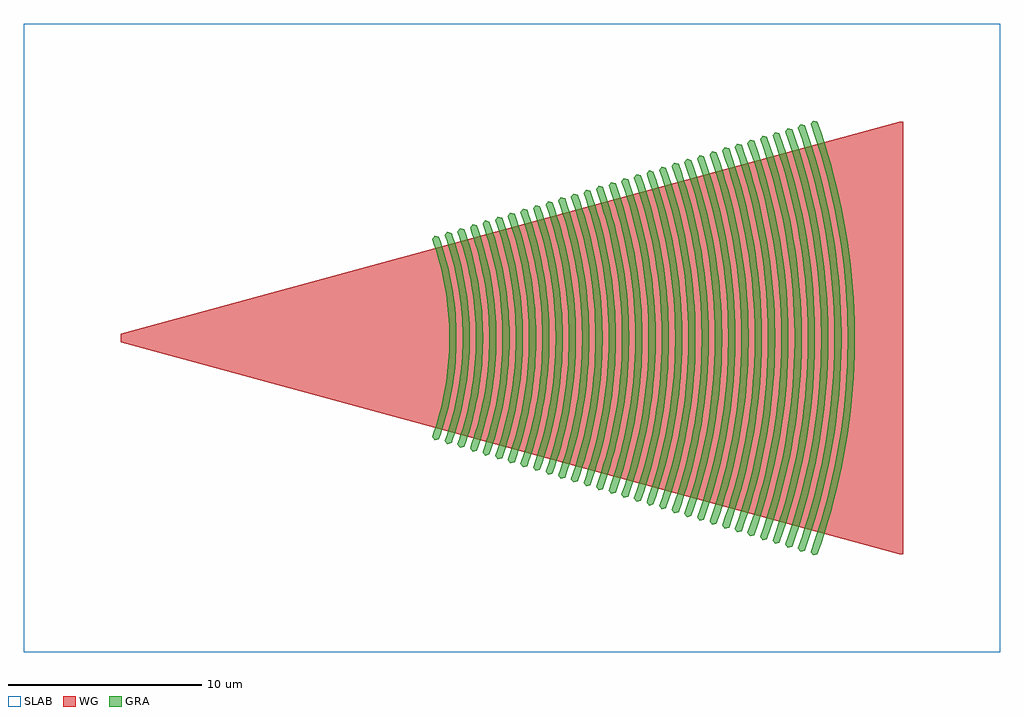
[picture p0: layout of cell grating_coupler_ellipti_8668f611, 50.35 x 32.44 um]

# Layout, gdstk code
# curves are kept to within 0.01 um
import gdstk
lib = gdstk.Library(unit=1e-6, precision=1e-09)
def R(c, l, rs):  # rectangles x0, y0, x1, y1
    for r in rs: c.add(gdstk.rectangle(r[:2], r[2:], *l))
def P(c, l, *ps):  # polygons
    for p in ps: c.add(gdstk.Polygon(p, *l))
WG = (3, 0)
SLAB = (5, 0)
GRA = (6, 0)

grating_coupler_ellipti_ = lib.new_cell('grating_coupler_ellipti_8668f611')
P(grating_coupler_ellipti_, WG, [(40.832,-11.166),(0.682,-0.225),(0.682,0.225),(40.832,11.166),(41.033,11.166),(41.033,-11.166)])
R(grating_coupler_ellipti_, SLAB, [(-4.318,-16.22,46.033,16.22)])
P(grating_coupler_ellipti_, GRA, [(16.874,-5.271),(16.74,-5.094),(16.991,-4.333),(17.134,-3.82),(17.316,-3.042),(17.414,-2.518),(17.494,-1.992),(17.578,-1.197),(17.624,-0.134),(17.596,0.932),(17.494,1.992),(17.367,2.78),(17.199,3.561),(16.991,4.333),(16.74,5.094),(16.874,5.271),(17.09,5.216),(17.421,4.177),(17.621,3.383),(17.778,2.58),(17.894,1.769),(17.966,0.954),(17.994,0.136),(17.98,-0.682),(17.922,-1.498),(17.822,-2.311),(17.678,-3.116),(17.421,-4.177),(17.09,-5.216)],
  [(17.526,-5.471),(17.391,-5.293),(17.651,-4.502),(17.8,-3.969),(17.989,-3.16),(18.091,-2.616),(18.207,-1.795),(18.261,-1.243),(18.295,-0.692),(18.309,-0.138),(18.28,0.967),(18.173,2.069),(18.042,2.889),(17.867,3.7),(17.651,4.502),(17.391,5.293),(17.526,5.471),(17.741,5.415),(18.084,4.336),(18.292,3.512),(18.455,2.678),(18.575,1.837),(18.65,0.991),(18.679,0.142),(18.665,-0.708),(18.604,-1.555),(18.5,-2.398),(18.351,-3.234),(18.084,-4.336),(17.741,-5.415)],
  [(18.175,-5.668),(18.041,-5.491),(18.311,-4.671),(18.466,-4.117),(18.662,-3.279),(18.768,-2.714),(18.919,-1.576),(18.964,-1.004),(18.994,-0.143),(18.964,1.004),(18.919,1.576),(18.853,2.146),(18.717,2.997),(18.536,3.839),(18.311,4.671),(18.041,5.491),(18.175,5.668),(18.391,5.613),(18.747,4.495),(18.963,3.64),(19.132,2.776),(19.256,1.904),(19.334,1.026),(19.364,0.147),(19.349,-0.733),(19.287,-1.612),(19.178,-2.485),(19.024,-3.353),(18.896,-3.927),(18.747,-4.495),(18.391,-5.613)],
  [(18.826,-5.866),(18.692,-5.689),(18.884,-5.124),(19.132,-4.266),(19.335,-3.397),(19.491,-2.518),(19.569,-1.929),(19.627,-1.337),(19.663,-0.743),(19.679,-0.148),(19.674,0.446),(19.648,1.041),(19.601,1.633),(19.533,2.224),(19.392,3.105),(19.204,3.977),(18.971,4.839),(18.692,5.689),(18.826,5.866),(19.042,5.811),(19.236,5.236),(19.41,4.653),(19.634,3.769),(19.808,2.874),(19.937,1.971),(20.018,1.063),(20.049,0.152),(20.033,-0.759),(19.969,-1.669),(19.857,-2.574),(19.697,-3.471),(19.564,-4.065),(19.41,-4.653),(19.236,-5.236),(19.042,-5.811)],
  [(19.478,-6.065),(19.343,-5.887),(19.541,-5.303),(19.798,-4.415),(20.008,-3.516),(20.169,-2.606),(20.25,-1.996),(20.311,-1.383),(20.348,-0.769),(20.364,-0.155),(20.359,0.461),(20.331,1.077),(20.283,1.69),(20.213,2.302),(20.067,3.213),(19.873,4.117),(19.632,5.008),(19.343,5.887),(19.478,6.065),(19.693,6.009),(19.893,5.415),(20.073,4.812),(20.233,4.203),(20.37,3.59),(20.535,2.662),(20.618,2.038),(20.701,1.099),(20.734,0.157),(20.718,-0.785),(20.651,-1.726),(20.535,-2.662),(20.37,-3.59),(20.233,-4.203),(20.073,-4.812),(19.893,-5.415),(19.693,-6.009)],
  [(20.127,-6.263),(19.993,-6.086),(20.198,-5.481),(20.464,-4.563),(20.681,-3.634),(20.848,-2.694),(20.931,-2.064),(20.994,-1.43),(21.032,-0.795),(21.049,-0.16),(21.044,0.477),(20.994,1.43),(20.931,2.064),(20.848,2.694),(20.681,3.634),(20.464,4.563),(20.198,5.481),(19.993,6.086),(20.127,6.263),(20.343,6.208),(20.55,5.593),(20.737,4.971),(20.901,4.343),(21.043,3.708),(21.214,2.75),(21.299,2.106),(21.385,1.135),(21.419,0.162),(21.402,-0.811),(21.333,-1.783),(21.214,-2.75),(21.043,-3.708),(20.901,-4.343),(20.737,-4.971),(20.55,-5.593),(20.343,-6.208)],
  [(20.779,-6.462),(20.644,-6.284),(20.952,-5.346),(21.21,-4.393),(21.354,-3.753),(21.526,-2.782),(21.613,-2.131),(21.677,-1.477),(21.717,-0.821),(21.734,-0.164),(21.728,0.493),(21.699,1.149),(21.648,1.804),(21.573,2.456),(21.416,3.43),(21.21,4.393),(20.952,5.346),(20.644,6.284),(20.779,6.462),(20.994,6.406),(21.207,5.772),(21.4,5.13),(21.57,4.481),(21.716,3.827),(21.892,2.838),(21.981,2.173),(22.069,1.171),(22.104,0.168),(22.087,-0.837),(22.016,-1.84),(21.892,-2.838),(21.716,-3.827),(21.57,-4.481),(21.4,-5.13),(21.207,-5.772),(20.994,-6.406)],
  [(21.428,-6.659),(21.294,-6.482),(21.613,-5.514),(21.878,-4.532),(22.027,-3.871),(22.205,-2.869),(22.294,-2.198),(22.36,-1.523),(22.401,-0.847),(22.419,-0.169),(22.413,0.508),(22.36,1.523),(22.294,2.198),(22.205,2.869),(22.027,3.871),(21.878,4.532),(21.613,5.514),(21.294,6.482),(21.428,6.659),(21.644,6.604),(21.865,5.95),(22.063,5.288),(22.238,4.62),(22.389,3.945),(22.571,2.925),(22.662,2.24),(22.753,1.208),(22.789,0.173),(22.771,-0.863),(22.698,-1.897),(22.571,-2.925),(22.389,-3.945),(22.238,-4.62),(22.063,-5.288),(21.865,-5.95),(21.644,-6.604)],
  [(22.08,-6.859),(21.945,-6.681),(22.17,-6.017),(22.461,-5.01),(22.699,-3.989),(22.883,-2.957),(22.975,-2.265),(23.043,-1.57),(23.086,-0.873),(23.104,-0.174),(23.086,0.873),(23.043,1.57),(22.975,2.265),(22.883,2.957),(22.699,3.989),(22.461,5.01),(22.17,6.017),(21.945,6.681),(22.08,6.859),(22.295,6.803),(22.522,6.129),(22.726,5.447),(22.906,4.759),(23.061,4.063),(23.249,3.013),(23.343,2.307),(23.437,1.245),(23.474,0.178),(23.456,-0.889),(23.38,-1.954),(23.249,-3.013),(23.061,-4.063),(22.906,-4.759),(22.726,-5.447),(22.522,-6.129),(22.295,-6.803)],
  [(22.729,-7.056),(22.595,-6.879),(22.933,-5.852),(23.215,-4.809),(23.372,-4.108),(23.561,-3.045),(23.656,-2.332),(23.726,-1.616),(23.77,-0.899),(23.789,-0.179),(23.783,0.539),(23.726,1.616),(23.656,2.332),(23.561,3.045),(23.372,4.108),(23.215,4.809),(22.933,5.852),(22.595,6.879),(22.729,7.056),(22.945,7.001),(23.179,6.308),(23.389,5.606),(23.575,4.897),(23.734,4.182),(23.927,3.101),(24.024,2.374),(24.121,1.28),(24.159,0.183),(24.14,-0.915),(24.062,-2.011),(23.927,-3.101),(23.805,-3.823),(23.658,-4.54),(23.485,-5.252),(23.287,-5.958),(23.065,-6.656),(22.945,-7.001)],
  [(23.38,-7.254),(23.246,-7.077),(23.594,-6.02),(23.793,-5.307),(24.045,-4.226),(24.24,-3.133),(24.337,-2.4),(24.409,-1.663),(24.454,-0.925),(24.474,-0.186),(24.468,0.555),(24.409,1.663),(24.337,2.4),(24.24,3.133),(24.045,4.226),(23.793,5.307),(23.594,6.02),(23.246,7.077),(23.38,7.254),(23.596,7.199),(23.836,6.486),(24.052,5.765),(24.243,5.036),(24.407,4.3),(24.606,3.189),(24.745,2.068),(24.805,1.316),(24.844,0.188),(24.824,-0.941),(24.745,-2.068),(24.606,-3.189),(24.48,-3.931),(24.329,-4.668),(24.151,-5.401),(23.948,-6.126),(23.719,-6.844),(23.596,-7.199)],
  [(24.031,-7.452),(23.897,-7.275),(24.254,-6.189),(24.552,-5.087),(24.718,-4.345),(24.918,-3.221),(25.018,-2.467),(25.093,-1.709),(25.139,-0.951),(25.159,-0.19),(25.139,0.951),(25.093,1.709),(25.018,2.467),(24.918,3.221),(24.718,4.345),(24.552,5.087),(24.254,6.189),(23.897,7.275),(24.031,7.452),(24.247,7.397),(24.373,7.033),(24.608,6.295),(24.817,5.55),(25.08,4.419),(25.284,3.277),(25.427,2.124),(25.489,1.353),(25.529,0.194),(25.509,-0.967),(25.427,-2.124),(25.284,-3.277),(25.155,-4.039),(25,-4.797),(24.817,-5.55),(24.608,-6.295),(24.373,-7.033),(24.247,-7.397)],
  [(24.681,-7.651),(24.547,-7.474),(24.799,-6.732),(25.125,-5.605),(25.391,-4.463),(25.597,-3.308),(25.699,-2.534),(25.776,-1.756),(25.823,-0.977),(25.844,-0.195),(25.837,0.586),(25.776,1.756),(25.699,2.534),(25.597,3.308),(25.391,4.463),(25.125,5.605),(24.799,6.732),(24.547,7.474),(24.681,7.651),(24.897,7.596),(25.027,7.221),(25.268,6.464),(25.483,5.699),(25.753,4.537),(25.963,3.364),(26.109,2.181),(26.193,0.993),(26.214,0.199),(26.207,-0.596),(26.144,-1.786),(26.018,-2.97),(25.83,-4.147),(25.671,-4.925),(25.483,-5.699),(25.151,-6.844),(24.897,-7.596)],
  [(25.332,-7.849),(25.198,-7.672),(25.456,-6.91),(25.791,-5.753),(26.064,-4.582),(26.275,-3.396),(26.381,-2.601),(26.459,-1.803),(26.508,-1.002),(26.529,-0.2),(26.508,1.002),(26.459,1.803),(26.381,2.601),(26.275,3.396),(26.064,4.582),(25.791,5.753),(25.456,6.91),(25.198,7.672),(25.332,7.849),(25.548,7.794),(25.681,7.41),(25.928,6.632),(26.149,5.847),(26.426,4.656),(26.641,3.452),(26.749,2.643),(26.856,1.425),(26.899,0.204),(26.878,-1.018),(26.827,-1.833),(26.698,-3.048),(26.505,-4.256),(26.341,-5.054),(26.149,-5.847),(25.808,-7.022),(25.548,-7.794)],
  [(25.982,-8.047),(25.848,-7.87),(26.235,-6.695),(26.457,-5.902),(26.737,-4.7),(26.953,-3.484),(27.062,-2.669),(27.142,-1.849),(27.192,-1.028),(27.214,-0.205),(27.207,0.617),(27.142,1.849),(27.062,2.669),(26.953,3.484),(26.737,4.7),(26.457,5.902),(26.235,6.695),(25.848,7.87),(25.982,8.047),(26.198,7.992),(26.335,7.598),(26.589,6.801),(26.815,5.996),(27.099,4.774),(27.253,3.953),(27.43,2.711),(27.54,1.462),(27.584,0.209),(27.562,-1.044),(27.474,-2.295),(27.378,-3.126),(27.18,-4.364),(27.012,-5.183),(26.815,-5.996),(26.465,-7.201),(26.198,-7.992)],
  [(26.633,-8.246),(26.499,-8.069),(26.895,-6.864),(27.122,-6.051),(27.41,-4.818),(27.632,-3.572),(27.743,-2.736),(27.825,-1.896),(27.877,-1.054),(27.899,-0.211),(27.892,0.633),(27.825,1.896),(27.743,2.736),(27.632,3.572),(27.41,4.818),(27.122,6.051),(26.895,6.864),(26.499,8.069),(26.633,8.246),(26.849,8.191),(26.989,7.787),(27.249,6.97),(27.48,6.145),(27.772,4.892),(27.998,3.628),(28.111,2.778),(28.224,1.499),(28.269,0.215),(28.247,-1.07),(28.156,-2.352),(27.998,-3.628),(27.855,-4.472),(27.585,-5.729),(27.368,-6.558),(27.122,-7.379),(26.849,-8.191)],
  [(27.285,-8.445),(27.15,-8.267),(27.555,-7.033),(27.894,-5.78),(28.083,-4.937),(28.31,-3.66),(28.424,-2.803),(28.508,-1.942),(28.561,-1.08),(28.584,-0.216),(28.561,1.08),(28.508,1.942),(28.424,2.803),(28.31,3.66),(28.083,4.937),(27.894,5.78),(27.555,7.033),(27.15,8.267),(27.285,8.445),(27.5,8.389),(27.643,7.975),(27.909,7.139),(28.146,6.293),(28.445,5.011),(28.676,3.716),(28.792,2.845),(28.908,1.534),(28.954,0.22),(28.931,-1.096),(28.838,-2.409),(28.676,-3.716),(28.53,-4.58),(28.254,-5.868),(28.031,-6.717),(27.78,-7.558),(27.5,-8.389)],
  [(27.934,-8.642),(27.8,-8.465),(28.216,-7.201),(28.454,-6.348),(28.756,-5.055),(28.989,-3.747),(29.105,-2.87),(29.191,-1.989),(29.245,-1.106),(29.269,-0.221),(29.261,0.664),(29.191,1.989),(29.105,2.87),(28.989,3.747),(28.756,5.055),(28.454,6.348),(28.216,7.201),(27.8,8.465),(27.934,8.642),(28.15,8.587),(28.297,8.164),(28.695,6.876),(28.922,6.007),(29.118,5.129),(29.355,3.803),(29.473,2.912),(29.592,1.57),(29.639,0.225),(29.615,-1.122),(29.52,-2.466),(29.355,-3.803),(29.205,-4.689),(28.922,-6.007),(28.695,-6.876),(28.437,-7.737),(28.15,-8.587)],
  [(28.585,-8.84),(28.451,-8.663),(28.876,-7.37),(29.12,-6.497),(29.429,-5.174),(29.596,-4.283),(29.731,-3.387),(29.875,-2.036),(29.93,-1.132),(29.954,-0.226),(29.946,0.679),(29.875,2.036),(29.786,2.938),(29.667,3.835),(29.429,5.174),(29.231,6.057),(28.876,7.37),(28.451,8.663),(28.585,8.84),(28.801,8.785),(28.951,8.352),(29.358,7.035),(29.591,6.145),(29.791,5.248),(30.033,3.891),(30.154,2.98),(30.276,1.607),(30.324,0.23),(30.3,-1.148),(30.243,-2.066),(30.097,-3.435),(29.88,-4.797),(29.591,-6.145),(29.358,-7.035),(29.094,-7.915),(28.801,-8.785)],
  [(29.235,-9.039),(29.101,-8.862),(29.536,-7.539),(29.786,-6.646),(30.102,-5.292),(30.273,-4.381),(30.411,-3.465),(30.558,-2.082),(30.614,-1.158),(30.639,-0.231),(30.631,0.695),(30.558,2.082),(30.467,3.005),(30.345,3.923),(30.102,5.292),(29.786,6.646),(29.536,7.539),(29.101,8.862),(29.235,9.039),(29.451,8.984),(29.605,8.541),(29.89,7.645),(30.144,6.74),(30.464,5.366),(30.711,3.979),(30.885,2.58),(30.96,1.643),(31.009,0.235),(30.984,-1.174),(30.885,-2.58),(30.711,-3.979),(30.555,-4.905),(30.259,-6.284),(30.021,-7.193),(29.751,-8.094),(29.451,-8.984)],
  [(29.886,-9.237),(29.752,-9.06),(30.057,-8.16),(30.452,-6.794),(30.775,-5.411),(31.024,-4.011),(31.149,-3.072),(31.241,-2.129),(31.299,-1.184),(31.324,-0.236),(31.316,0.71),(31.241,2.129),(31.149,3.072),(31.024,4.011),(30.775,5.411),(30.452,6.794),(30.057,8.16),(29.752,9.06),(29.886,9.237),(30.102,9.182),(30.259,8.729),(30.55,7.813),(30.81,6.888),(31.137,5.485),(31.39,4.067),(31.517,3.114),(31.644,1.679),(31.694,0.24),(31.669,-1.2),(31.567,-2.637),(31.39,-4.067),(31.23,-5.013),(31.037,-5.955),(30.81,-6.888),(30.409,-8.272),(30.102,-9.182)],
  [(30.536,-9.435),(30.402,-9.258),(30.714,-8.339),(31.118,-6.943),(31.448,-5.529),(31.626,-4.577),(31.771,-3.62),(31.924,-2.175),(31.983,-1.21),(32.009,-0.242),(31.983,1.21),(31.924,2.175),(31.83,3.139),(31.702,4.099),(31.448,5.529),(31.118,6.943),(30.714,8.339),(30.402,9.258),(30.536,9.435),(30.752,9.38),(30.913,8.918),(31.211,7.982),(31.476,7.037),(31.81,5.603),(32.068,4.155),(32.198,3.181),(32.327,1.715),(32.379,0.246),(32.353,-1.226),(32.249,-2.694),(32.137,-3.668),(31.905,-5.122),(31.596,-6.561),(31.347,-7.511),(31.066,-8.451),(30.752,-9.38)],
  [(31.187,-9.634),(31.053,-9.457),(31.371,-8.518),(31.784,-7.092),(32.121,-5.647),(32.303,-4.675),(32.451,-3.698),(32.607,-2.222),(32.668,-1.236),(32.694,-0.247),(32.668,1.236),(32.607,2.222),(32.511,3.207),(32.381,4.186),(32.121,5.647),(31.784,7.092),(31.371,8.518),(31.053,9.457),(31.187,9.634),(31.403,9.579),(31.567,9.106),(31.871,8.151),(32.142,7.186),(32.483,5.721),(32.747,4.242),(32.879,3.249),(33.011,1.753),(33.064,0.251),(33.038,-1.252),(32.931,-2.751),(32.747,-4.242),(32.58,-5.23),(32.378,-6.211),(32.142,-7.186),(31.723,-8.63),(31.403,-9.579)],
  [(31.839,-9.833),(31.704,-9.655),(32.177,-8.214),(32.45,-7.241),(32.794,-5.766),(32.98,-4.773),(33.13,-3.775),(33.246,-2.772),(33.352,-1.262),(33.379,-0.252),(33.37,0.757),(33.29,2.269),(33.192,3.274),(33.059,4.275),(32.794,5.766),(32.45,7.241),(32.177,8.214),(31.704,9.655),(31.839,9.833),(32.054,9.777),(32.221,9.294),(32.531,8.32),(32.808,7.335),(33.156,5.84),(33.425,4.329),(33.614,2.808),(33.722,1.278),(33.749,0.256),(33.722,-1.278),(33.614,-2.808),(33.425,-4.329),(33.255,-5.338),(33.049,-6.34),(32.808,-7.335),(32.38,-8.808),(32.054,-9.777)],
  [(32.488,-10.03),(32.354,-9.853),(32.686,-8.875),(33.115,-7.389),(33.467,-5.884),(33.657,-4.871),(33.81,-3.853),(33.974,-2.315),(34.036,-1.287),(34.064,-0.257),(34.055,0.772),(33.974,2.315),(33.873,3.341),(33.737,4.363),(33.657,4.871),(33.467,5.884),(33.241,6.889),(32.838,8.382),(32.354,9.853),(32.488,10.03),(32.704,9.975),(32.875,9.483),(33.337,7.987),(33.601,6.977),(33.829,5.958),(34.021,4.933),(34.241,3.383),(34.379,1.824),(34.434,0.261),(34.425,-0.782),(34.342,-2.345),(34.176,-3.901),(33.93,-5.446),(33.601,-6.977),(33.337,-7.987),(33.038,-8.987),(32.704,-9.975)],
  [(33.139,-10.228),(33.005,-10.051),(33.343,-9.054),(33.781,-7.538),(34.14,-6.003),(34.333,-4.969),(34.49,-3.93),(34.657,-2.362),(34.721,-1.313),(34.749,-0.262),(34.74,0.788),(34.657,2.362),(34.554,3.408),(34.416,4.45),(34.14,6.003),(33.91,7.028),(33.498,8.551),(33.005,10.051),(33.139,10.228),(33.355,10.173),(33.695,9.166),(34.139,7.632),(34.27,7.116),(34.502,6.077),(34.782,4.506),(34.922,3.45),(35.063,1.86),(35.119,0.266),(35.11,-0.798),(35.025,-2.392),(34.856,-3.978),(34.605,-5.555),(34.27,-7.116),(34,-8.146),(33.695,-9.166),(33.355,-10.173)],
  [(33.789,-10.427),(33.655,-10.25),(34,-9.232),(34.447,-7.687),(34.813,-6.121),(35.01,-5.067),(35.17,-4.008),(35.34,-2.408),(35.405,-1.339),(35.434,-0.268),(35.424,0.804),(35.34,2.408),(35.235,3.476),(35.094,4.538),(34.813,6.121),(34.447,7.687),(34,9.232),(33.655,10.25),(33.789,10.427),(34.005,10.372),(34.352,9.344),(34.805,7.781),(34.938,7.255),(35.175,6.195),(35.28,5.663),(35.46,4.594),(35.603,3.518),(35.747,1.897),(35.804,0.272),(35.775,-1.355),(35.708,-2.438),(35.536,-4.056),(35.28,-5.663),(34.938,-7.255),(34.663,-8.304),(34.352,-9.344),(34.005,-10.372)],
  [(34.44,-10.625),(34.306,-10.448),(34.657,-9.411),(35.113,-7.835),(35.486,-6.24),(35.687,-5.165),(35.85,-4.085),(35.975,-2.999),(36.09,-1.365),(36.119,-0.273),(36.09,1.365),(36.023,2.455),(35.917,3.543),(35.773,4.625),(35.486,6.24),(35.113,7.835),(34.657,9.411),(34.306,10.448),(34.44,10.625),(34.656,10.57),(35.009,9.523),(35.471,7.929),(35.732,6.855),(35.848,6.314),(35.955,5.771),(36.139,4.681),(36.285,3.585),(36.431,1.933),(36.489,0.277),(36.46,-1.381),(36.431,-1.933),(36.343,-3.035),(36.285,-3.585),(36.139,-4.681),(35.955,-5.771),(35.732,-6.855),(35.471,-7.929),(35.009,-9.523),(34.656,-10.57)],
  [(35.091,-10.823),(34.957,-10.646),(35.141,-10.119),(35.479,-9.057),(35.779,-7.984),(36.159,-6.358),(36.364,-5.263),(36.53,-4.163),(36.706,-2.502),(36.774,-1.391),(36.804,-0.278),(36.794,0.835),(36.706,2.502),(36.598,3.61),(36.451,4.713),(36.364,5.263),(36.159,6.358),(35.915,7.444),(35.634,8.522),(35.479,9.057),(35.141,10.119),(34.957,10.646),(35.091,10.823),(35.307,10.768),(35.666,9.701),(35.833,9.163),(36.137,8.078),(36.275,7.532),(36.521,6.432),(36.728,5.325),(36.966,3.652),(37.115,1.969),(37.174,0.282),(37.174,-0.282),(37.144,-1.407),(37.115,-1.969),(37.025,-3.092),(36.966,-3.652),(36.817,-4.769),(36.629,-5.879),(36.521,-6.432),(36.275,-7.532),(35.99,-8.622),(35.666,-9.701),(35.307,-10.768)],
  [(35.741,-11.021),(35.607,-10.844),(35.972,-9.768),(36.297,-8.681),(36.445,-8.133),(36.832,-6.476),(37.04,-5.361),(37.21,-4.24),(37.389,-2.548),(37.459,-1.417),(37.489,-0.283),(37.459,1.417),(37.389,2.548),(37.279,3.677),(37.13,4.801),(36.832,6.476),(36.445,8.133),(36.297,8.681),(35.972,9.768),(35.607,10.844),(35.741,11.021),(35.957,10.966),(36.324,9.88),(36.653,8.781),(36.803,8.227),(37.074,7.112),(37.194,6.55),(37.496,4.857),(37.647,3.719),(37.798,2.006),(37.829,1.433),(37.859,0.287),(37.859,-0.287),(37.829,-1.433),(37.707,-3.149),(37.647,-3.719),(37.496,-4.857),(37.304,-5.988),(37.074,-7.112),(36.943,-7.671),(36.653,-8.781),(36.324,-9.88),(35.957,-10.966)],
  [(36.392,-11.22),(36.258,-11.043),(36.629,-9.947),(37.111,-8.282),(37.383,-7.16),(37.717,-5.459),(37.89,-4.318),(38.072,-2.595),(38.143,-1.443),(38.174,-0.288),(38.174,0.288),(38.143,1.443),(38.072,2.595),(37.96,3.745),(37.808,4.889),(37.717,5.459),(37.504,6.595),(37.383,7.16),(37.111,8.282),(36.629,9.947),(36.258,11.043),(36.392,11.22),(36.608,11.165),(36.981,10.059),(37.316,8.939),(37.612,7.809),(37.745,7.24),(37.979,6.096),(38.174,4.945),(38.328,3.787),(38.389,3.206),(38.482,2.042),(38.513,1.459),(38.544,0.292),(38.544,-0.292),(38.513,-1.459),(38.482,-2.042),(38.389,-3.206),(38.328,-3.787),(38.174,-4.945),(37.979,-6.096),(37.745,-7.24),(37.612,-7.809),(37.316,-8.939),(36.981,-10.059),(36.608,-11.165)])

lib.write_gds('grating_coupler_ellipti_8668f611.gds')
